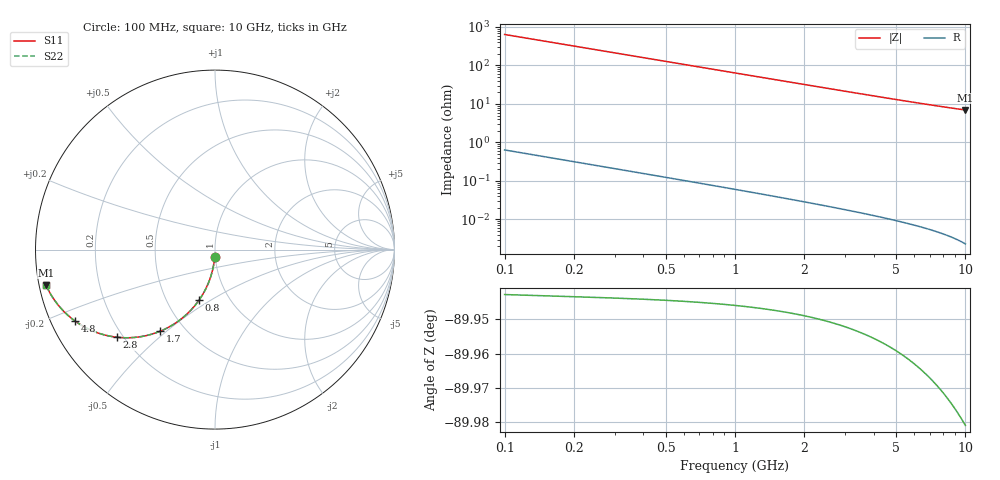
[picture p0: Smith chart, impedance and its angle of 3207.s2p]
# Hz S RI R 50.00
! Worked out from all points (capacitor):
!   100 points, 100 MHz to 10 GHz, reference 50 ohm
!   read as one part in shunt: C = 2.49 pF near 100 MHz
!   lowest |Z| = 6.98 ohm at 10 GHz (marker M1)
!   S11 on the Smith chart (normalised r, x): 100 MHz: 0.99, -0.08; 800 MHz: 0.72, -0.45; 1.7 GHz: 0.36, -0.48; 2.8 GHz: 0.18, -0.37; 4.8 GHz: 0.07, -0.24; 10 GHz: 0.02, -0.10
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1e8  -0.00139 -0.0387  0.9983 -0.0393  0.9983 -0.0393  -0.00139 -0.0387
2e8  -0.00597 -0.077  0.9937 -0.0783  0.9937 -0.0783  -0.00597 -0.077
3e8  -0.0135 -0.1147  0.9861 -0.1166  0.9861 -0.1166  -0.0135 -0.1147
4e8  -0.0238 -0.1513  0.9758 -0.1539  0.9758 -0.1539  -0.0238 -0.1513
5e8  -0.0368 -0.1866  0.9628 -0.1898  0.9628 -0.1898  -0.0368 -0.1866
6e8  -0.0522 -0.2203  0.9475 -0.2242  0.9475 -0.2242  -0.0522 -0.2203
8e8  -0.0892 -0.2822  0.9105 -0.2873  0.9105 -0.2873  -0.0892 -0.2822
1e9  -0.1327 -0.3357  0.8669 -0.3422  0.8669 -0.3422  -0.1327 -0.3357
1.2e9  -0.1806 -0.3804  0.819 -0.3882  0.819 -0.3882  -0.1806 -0.3804
1.4e9  -0.2308 -0.4164  0.7688 -0.4254  0.7688 -0.4254  -0.2308 -0.4164
1.7e9  -0.3068 -0.4552  0.6928 -0.4662  0.6928 -0.4662  -0.3068 -0.4552
1.8e9  -0.3316 -0.4646  0.6679 -0.4762  0.6679 -0.4762  -0.3316 -0.4646
2.3e9  -0.4478 -0.4894  0.5517 -0.5042  0.5517 -0.5042  -0.4478 -0.4894
2.8e9  -0.5463 -0.4882  0.4532 -0.5063  0.4532 -0.5063  -0.5463 -0.4882
3.4e9  -0.6402 -0.4683  0.3592 -0.4903  0.3592 -0.4903  -0.6402 -0.4683
4.1e9  -0.7219 -0.434  0.2773 -0.4606  0.2773 -0.4606  -0.7219 -0.434
4.8e9  -0.7813 -0.3968  0.2178 -0.4281  0.2178 -0.4281  -0.7813 -0.3968
5.1e9  -0.8016 -0.3812  0.1974 -0.4145  0.1974 -0.4145  -0.8016 -0.3812
5.8e9  -0.84 -0.3464  0.1588 -0.3845  0.1588 -0.3845  -0.84 -0.3464
6.7e9  -0.8759 -0.3062  0.1227 -0.3505  0.1227 -0.3505  -0.8759 -0.3062
8.4e9  -0.9183 -0.2435  0.0796 -0.2998  0.0796 -0.2998  -0.9183 -0.2435
1e10  -0.9417 -0.197  0.0555 -0.2651  0.0555 -0.2651  -0.9417 -0.197
